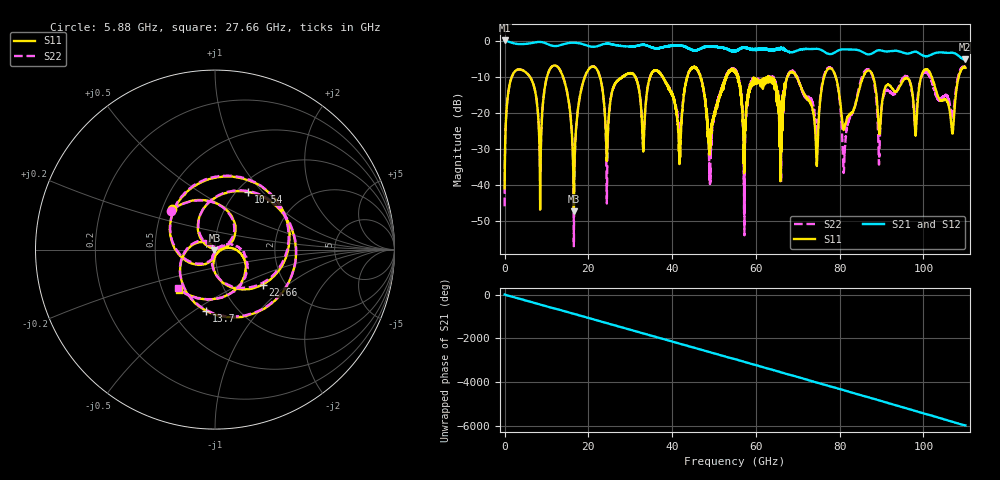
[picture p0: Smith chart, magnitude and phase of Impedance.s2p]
#  HZ  S  RI  R  50.00
! Rohde & Schwarz ZVA67 4Ports - Version 4.11 - 1305.7002k04 SN: 101032
! Date: 2026-02-18 15:44:45
! Measurements: S11 S21 S12 S22
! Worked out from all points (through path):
!   5500 points, 20 MHz to 110 GHz, reference 50 ohm
!   highest |S21| = 0.02 dB at 20 MHz (marker M1); lowest = -5.2 dB at 109.9 GHz (marker M2)
!   group delay of S21, straight-line fit = 151 ps
!   lowest |S11| = -47.3 dB at 16.56 GHz (marker M3), VSWR 1.01, Z = 49.7 - j0.289 ohm
!   |S11| at or under -10 dB: 55.72 GHz to 62.93 GHz (7.208 GHz wide, 12.1 % of centre); 69.73 GHz to 76.29 GHz (6.567 GHz wide, 8.99 % of centre); 87.96 GHz to 99.44 GHz (11.48 GHz wide, 12.3 % of centre)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
!   |S22| runs from -56.9 to -6.9 dB; largest |S21 - S12| = 0.043
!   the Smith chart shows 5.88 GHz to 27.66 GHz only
!   S11 on the Smith chart (normalised r, x): 5.88 GHz: 0.57, +0.28; 10.54 GHz: 1.12, +0.83; 13.7 GHz: 0.72, -0.56; 22.66 GHz: 1.55, -0.67; 27.66 GHz: 0.61, -0.30
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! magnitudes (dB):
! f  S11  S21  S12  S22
! 20 MHz  -40.9  0.0  0.0  -45.9
! 1.48 GHz  -10.9  -0.5  -0.5  -11.0
! 5.88 GHz  -9.7  -0.8  -0.8  -9.7
! 8.48 GHz  -42.8  -0.4  -0.4  -35.9
! 10.54 GHz  -8.6  -1.1  -1.1  -8.6
! 13.7 GHz  -9.2  -1.1  -1.2  -9.3
! 16.56 GHz  -47.3  -0.6  -0.6  -56.0
! 18.36 GHz  -13.4  -0.9  -0.9  -13.4
! 22.66 GHz  -9.6  -1.4  -1.4  -9.6
! 24.44 GHz  -32.6  -0.9  -0.9  -42.9
! 27.66 GHz  -10.5  -1.5  -1.5  -10.5
! 36.68 GHz  -8.6  -2.1  -2.1  -8.5
! 41.74 GHz  -34.2  -1.4  -1.4  -25.9
! 46.02 GHz  -8.1  -2.6  -2.7  -8.1
! 49.02 GHz  -28.2  -1.7  -1.7  -35.5
! 55.02 GHz  -8.7  -2.9  -2.7  -8.5
! 57.24 GHz  -29.8  -1.9  -1.9  -39.3
! 73.34 GHz  -18.1  -2.3  -2.3  -16.8
! 91.68 GHz  -12.3  -3.0  -3.0  -14.0
! 106.8 GHz  -25.4  -3.4  -3.4  -21.1
! 109.9 GHz  -7.5  -5.2  -5.2  -7.4
! 110 GHz  -7.5  -5.2  -5.2  -7.5
